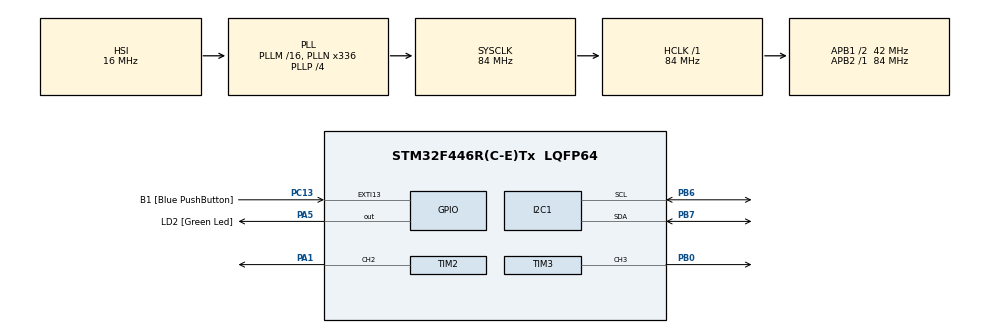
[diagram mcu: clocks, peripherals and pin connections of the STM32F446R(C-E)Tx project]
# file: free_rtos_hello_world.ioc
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FREERTOS.Tasks01=blink01,24,128,StartBlink01,Default,NULL,Dynamic,NULL,NULL;motorTest01,32,128,StartMotorTest01,Default,NULL,Dynamic,NULL,NULL;servoTest01,40,128,StartServoTest01,Default,NULL,Dynamic,NULL,NULL;oledDisplay01,24,512,StartOledDisplay01,Default,NULL,Dynamic,NULL,NULL;imuTask01,8,128,StartImuTask01,Default,NULL,Dynamic,NULL,NULL
FREERTOS.configUSE_NEWLIB_REENTRANT=1
Mcu.Family=STM32F4
Mcu.Name=STM32F446R(C-E)Tx
Mcu.Package=LQFP64
NVIC.PriorityGroup=NVIC_PRIORITYGROUP_4
NVIC.TIM6_DAC_IRQn=true\:15\:0\:false\:false\:true\:false\:false\:true\:true
NVIC.TimeBase=TIM6_DAC_IRQn
NVIC.TimeBaseIP=TIM6
PA1.Signal=S_TIM2_CH2
PA13.GPIO_Label=TMS
PA13.Signal=SYS_JTMS-SWDIO
PA14.GPIO_Label=TCK
PA14.Signal=SYS_JTCK-SWCLK
PA2.GPIO_Label=USART_TX
PA2.Signal=USART2_TX
PA3.GPIO_Label=USART_RX
PA3.Signal=USART2_RX
PA5.GPIO_Label=LD2 [Green Led]
PA5.Signal=GPIO_Output
PB0.Signal=S_TIM3_CH3
PB3.GPIO_Label=SWO
PB3.Signal=SYS_JTDO-SWO
PB6.Mode=I2C
PB6.Signal=I2C1_SCL
PB7.Mode=I2C
PB7.Signal=I2C1_SDA
PC13.GPIO_Label=B1 [Blue PushButton]
PC13.GPIO_ModeDefaultEXTI=GPIO_MODE_IT_FALLING
PC13.Signal=GPXTI13
PC14-OSC32_IN.Signal=RCC_OSC32_IN
PC15-OSC32_OUT.Signal=RCC_OSC32_OUT
PH0-OSC_IN.Signal=RCC_OSC_IN
PH1-OSC_OUT.Signal=RCC_OSC_OUT
ProjectManager.HeapSize=0x200
ProjectManager.StackSize=0x400
ProjectManager.TargetToolchain=STM32CubeIDE
RCC.AHBFreq_Value=84000000
RCC.APB1CLKDivider=RCC_HCLK_DIV2
RCC.APB1Freq_Value=42000000
RCC.APB1TimFreq_Value=84000000
RCC.APB2Freq_Value=84000000
RCC.APB2TimFreq_Value=84000000
RCC.CortexFreq_Value=84000000
RCC.FLatency-AdvancedSettings=FLASH_LATENCY_2
RCC.HCLKFreq_Value=84000000
RCC.HSE_VALUE=8000000
RCC.HSI_VALUE=16000000
RCC.LSE_VALUE=32768
RCC.PLLN=336
RCC.PLLP=RCC_PLLP_DIV4
RCC.SYSCLKFreq_VALUE=84000000
RCC.SYSCLKSource=RCC_SYSCLKSOURCE_PLLCLK
RCC.USBFreq_Value=168000000
RCC.VCOOutputFreq_Value=336000000
SH.S_TIM2_CH2.0=TIM2_CH2,PWM Generation2 CH2
SH.S_TIM3_CH3.0=TIM3_CH3,PWM Generation3 CH3
TIM2.Channel-PWM\ Generation2\ CH2=TIM_CHANNEL_2
TIM2.Period=999
TIM2.Prescaler=1679
TIM2.Pulse-PWM\ Generation2\ CH2=150
TIM3.Channel-PWM\ Generation3\ CH3=TIM_CHANNEL_3
TIM3.Period=19999
TIM3.Prescaler=83
TIM3.Pulse-PWM\ Generation3\ CH3=1500
VP_FREERTOS_VS_CMSIS_V2.Mode=CMSIS_V2
VP_SYS_VS_tim6.Mode=TIM6
VP_TIM3_VS_ClockSourceINT.Mode=Internal
board=NUCLEO-F446RE

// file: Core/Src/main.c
/* USER CODE BEGIN Header */
/**
  ******************************************************************************
  * @file           : main.c
  * @brief          : Main program body
  ******************************************************************************
  * @attention
  *
  * Copyright (c) 2025 STMicroelectronics.
  * All rights reserved.
  *
  * This software is licensed under terms that can be found in the LICENSE file
  * in the root directory of this software component.
  * If no LICENSE file comes with this software, it is provided AS-IS.
  *
  ******************************************************************************
  */
/* USER CODE END Header */
#include "main.h"
#include "cmsis_os.h"

/* USER CODE BEGIN Includes */
#include "ssd1306.h"

/* USER CODE END Includes */

I2C_HandleTypeDef hi2c1;

TIM_HandleTypeDef htim2;
TIM_HandleTypeDef htim3;

/* Definitions for blink01 */
osThreadId_t blink01Handle;
const osThreadAttr_t blink01_attributes = {
  .name = "blink01",
  .stack_size = 128 * 4,
  .priority = (osPriority_t) osPriorityNormal,
};
/* Definitions for motorTest01 */
osThreadId_t motorTest01Handle;
const osThreadAttr_t motorTest01_attributes = {
  .name = "motorTest01",
  .stack_size = 128 * 4,
  .priority = (osPriority_t) osPriorityAboveNormal,
};
/* Definitions for servoTest01 */
osThreadId_t servoTest01Handle;
const osThreadAttr_t servoTest01_attributes = {
  .name = "servoTest01",
  .stack_size = 128 * 4,
  .priority = (osPriority_t) osPriorityHigh,
};
/* Definitions for oledDisplay01 */
osThreadId_t oledDisplay01Handle;
const osThreadAttr_t oledDisplay01_attributes = {
  .name = "oledDisplay01",
  .stack_size = 512 * 4,
  .priority = (osPriority_t) osPriorityNormal,
};
/* Definitions for imuTask01 */
osThreadId_t imuTask01Handle;
const osThreadAttr_t imuTask01_attributes = {
  .name = "imuTask01",
  .stack_size = 128 * 4,
  .priority = (osPriority_t) osPriorityLow,
};
/* USER CODE BEGIN PV */
volatile float current_heading = 0.0f;
volatile bool imu_connected = false;
volatile uint8_t battery_percentage = 85;  // Placeholder
volatile float battery_voltage = 12.4f;    // Placeholder
volatile uint32_t system_uptime = 0;
/* USER CODE END PV */

void SystemClock_Config(void);
static void MX_GPIO_Init(void);
static void MX_TIM3_Init(void);
static void MX_TIM2_Init(void);
static void MX_I2C1_Init(void);
void StartBlink01(void *argument);
void StartMotorTest01(void *argument);
void StartServoTest01(void *argument);
void StartOledDisplay01(void *argument);
void StartImuTask01(void *argument);

int main(void)
{

  /* MCU Configuration--------------------------------------------------------*/

  /* Reset of all peripherals, Initializes the Flash interface and the Systick. */
  HAL_Init();

  /* Configure the system clock */
  SystemClock_Config();

  /* Initialize all configured peripherals */
  MX_GPIO_Init();
  MX_TIM3_Init();
  MX_TIM2_Init();
  MX_I2C1_Init();

  /* Init scheduler */
  osKernelInitialize();

  /* Create the thread(s) */
  /* creation of blink01 */
  blink01Handle = osThreadNew(StartBlink01, NULL, &blink01_attributes);

  /* creation of motorTest01 */
  motorTest01Handle = osThreadNew(StartMotorTest01, NULL, &motorTest01_attributes);

  /* creation of servoTest01 */
  servoTest01Handle = osThreadNew(StartServoTest01, NULL, &servoTest01_attributes);

  /* creation of oledDisplay01 */
  oledDisplay01Handle = osThreadNew(StartOledDisplay01, NULL, &oledDisplay01_attributes);

  /* creation of imuTask01 */
  imuTask01Handle = osThreadNew(StartImuTask01, NULL, &imuTask01_attributes);

  /* Start scheduler */
  osKernelStart();

  /* We should never get here as control is now taken by the scheduler */

  /* Infinite loop */
  while (1)
  {

  }
}

void SystemClock_Config(void)
{
  RCC_OscInitTypeDef RCC_OscInitStruct = {0};
  RCC_ClkInitTypeDef RCC_ClkInitStruct = {0};

  /** Configure the main internal regulator output voltage
  */
  __HAL_RCC_PWR_CLK_ENABLE();
  __HAL_PWR_VOLTAGESCALING_CONFIG(PWR_REGULATOR_VOLTAGE_SCALE3);

  /** Initializes the RCC Oscillators according to the specified parameters
  * in the RCC_OscInitTypeDef structure.
  */
  RCC_OscInitStruct.OscillatorType = RCC_OSCILLATORTYPE_HSI;
  RCC_OscInitStruct.HSIState = RCC_HSI_ON;
  RCC_OscInitStruct.HSICalibrationValue = RCC_HSICALIBRATION_DEFAULT;
  RCC_OscInitStruct.PLL.PLLState = RCC_PLL_ON;
  RCC_OscInitStruct.PLL.PLLSource = RCC_PLLSOURCE_HSI;
  RCC_OscInitStruct.PLL.PLLM = 16;
  RCC_OscInitStruct.PLL.PLLN = 336;
  RCC_OscInitStruct.PLL.PLLP = RCC_PLLP_DIV4;
  RCC_OscInitStruct.PLL.PLLQ = 2;
  RCC_OscInitStruct.PLL.PLLR = 2;
  if (HAL_RCC_OscConfig(&RCC_OscInitStruct) != HAL_OK)
  {
    Error_Handler();
  }

  /** Initializes the CPU, AHB and APB buses clocks
  */
  RCC_ClkInitStruct.ClockType = RCC_CLOCKTYPE_HCLK|RCC_CLOCKTYPE_SYSCLK
                              |RCC_CLOCKTYPE_PCLK1|RCC_CLOCKTYPE_PCLK2;
  RCC_ClkInitStruct.SYSCLKSource = RCC_SYSCLKSOURCE_PLLCLK;
  RCC_ClkInitStruct.AHBCLKDivider = RCC_SYSCLK_DIV1;
  RCC_ClkInitStruct.APB1CLKDivider = RCC_HCLK_DIV2;
  RCC_ClkInitStruct.APB2CLKDivider = RCC_HCLK_DIV1;

  if (HAL_RCC_ClockConfig(&RCC_ClkInitStruct, FLASH_LATENCY_2) != HAL_OK)
  {
    Error_Handler();
  }
}

static void MX_I2C1_Init(void)
{

  hi2c1.Instance = I2C1;
  hi2c1.Init.ClockSpeed = 100000;
  hi2c1.Init.DutyCycle = I2C_DUTYCYCLE_2;
  hi2c1.Init.OwnAddress1 = 0;
  hi2c1.Init.AddressingMode = I2C_ADDRESSINGMODE_7BIT;
  hi2c1.Init.DualAddressMode = I2C_DUALADDRESS_DISABLE;
  hi2c1.Init.OwnAddress2 = 0;
  hi2c1.Init.GeneralCallMode = I2C_GENERALCALL_DISABLE;
  hi2c1.Init.NoStretchMode = I2C_NOSTRETCH_DISABLE;
  if (HAL_I2C_Init(&hi2c1) != HAL_OK)
  {
    Error_Handler();
  }

}

static void MX_TIM2_Init(void)
{

  TIM_MasterConfigTypeDef sMasterConfig = {0};
  TIM_OC_InitTypeDef sConfigOC = {0};

  htim2.Instance = TIM2;
  htim2.Init.Prescaler = 1679;
  htim2.Init.CounterMode = TIM_COUNTERMODE_UP;
  htim2.Init.Period = 999;
  htim2.Init.ClockDivision = TIM_CLOCKDIVISION_DIV1;
  htim2.Init.AutoReloadPreload = TIM_AUTORELOAD_PRELOAD_DISABLE;
  if (HAL_TIM_PWM_Init(&htim2) != HAL_OK)
  {
    Error_Handler();
  }
  sMasterConfig.MasterOutputTrigger = TIM_TRGO_RESET;
  sMasterConfig.MasterSlaveMode = TIM_MASTERSLAVEMODE_DISABLE;
  if (HAL_TIMEx_MasterConfigSynchronization(&htim2, &sMasterConfig) != HAL_OK)
  {
    Error_Handler();
  }
  sConfigOC.OCMode = TIM_OCMODE_PWM1;
  sConfigOC.Pulse = 150;
  sConfigOC.OCPolarity = TIM_OCPOLARITY_HIGH;
  sConfigOC.OCFastMode = TIM_OCFAST_DISABLE;
  if (HAL_TIM_PWM_ConfigChannel(&htim2, &sConfigOC, TIM_CHANNEL_2) != HAL_OK)
  {
    Error_Handler();
  }
  HAL_TIM_MspPostInit(&htim2);

}

static void MX_TIM3_Init(void)
{

  TIM_ClockConfigTypeDef sClockSourceConfig = {0};
  TIM_MasterConfigTypeDef sMasterConfig = {0};
  TIM_OC_InitTypeDef sConfigOC = {0};

  htim3.Instance = TIM3;
  htim3.Init.Prescaler = 83;
  htim3.Init.CounterMode = TIM_COUNTERMODE_UP;
  htim3.Init.Period = 19999;
  htim3.Init.ClockDivision = TIM_CLOCKDIVISION_DIV1;
  htim3.Init.AutoReloadPreload = TIM_AUTORELOAD_PRELOAD_DISABLE;
  if (HAL_TIM_Base_Init(&htim3) != HAL_OK)
  {
    Error_Handler();
  }
  sClockSourceConfig.ClockSource = TIM_CLOCKSOURCE_INTERNAL;
  if (HAL_TIM_ConfigClockSource(&htim3, &sClockSourceConfig) != HAL_OK)
  {
    Error_Handler();
  }
  if (HAL_TIM_PWM_Init(&htim3) != HAL_OK)
  {
    Error_Handler();
  }
  sMasterConfig.MasterOutputTrigger = TIM_TRGO_RESET;
  sMasterConfig.MasterSlaveMode = TIM_MASTERSLAVEMODE_DISABLE;
  if (HAL_TIMEx_MasterConfigSynchronization(&htim3, &sMasterConfig) != HAL_OK)
  {
    Error_Handler();
  }
  sConfigOC.OCMode = TIM_OCMODE_PWM1;
  sConfigOC.Pulse = 1500;
  sConfigOC.OCPolarity = TIM_OCPOLARITY_HIGH;
  sConfigOC.OCFastMode = TIM_OCFAST_DISABLE;
  if (HAL_TIM_PWM_ConfigChannel(&htim3, &sConfigOC, TIM_CHANNEL_3) != HAL_OK)
  {
    Error_Handler();
  }
  HAL_TIM_MspPostInit(&htim3);

}

static void MX_GPIO_Init(void)
{
  GPIO_InitTypeDef GPIO_InitStruct = {0};

  /* GPIO Ports Clock Enable */
  __HAL_RCC_GPIOC_CLK_ENABLE();
  __HAL_RCC_GPIOH_CLK_ENABLE();
  __HAL_RCC_GPIOA_CLK_ENABLE();
  __HAL_RCC_GPIOB_CLK_ENABLE();

  /*Configure GPIO pin Output Level */
  HAL_GPIO_WritePin(LD2_GPIO_Port, LD2_Pin, GPIO_PIN_RESET);

  /*Configure GPIO pin : B1_Pin */
  GPIO_InitStruct.Pin = B1_Pin;
  GPIO_InitStruct.Mode = GPIO_MODE_IT_FALLING;
  GPIO_InitStruct.Pull = GPIO_NOPULL;
  HAL_GPIO_Init(B1_GPIO_Port, &GPIO_InitStruct);

  /*Configure GPIO pins : USART_TX_Pin USART_RX_Pin */
  GPIO_InitStruct.Pin = USART_TX_Pin|USART_RX_Pin;
  GPIO_InitStruct.Mode = GPIO_MODE_AF_PP;
  GPIO_InitStruct.Pull = GPIO_NOPULL;
  GPIO_InitStruct.Speed = GPIO_SPEED_FREQ_VERY_HIGH;
  GPIO_InitStruct.Alternate = GPIO_AF7_USART2;
  HAL_GPIO_Init(GPIOA, &GPIO_InitStruct);

  /*Configure GPIO pin : LD2_Pin */
  GPIO_InitStruct.Pin = LD2_Pin;
  GPIO_InitStruct.Mode = GPIO_MODE_OUTPUT_PP;
  GPIO_InitStruct.Pull = GPIO_NOPULL;
  GPIO_InitStruct.Speed = GPIO_SPEED_FREQ_LOW;
  HAL_GPIO_Init(LD2_GPIO_Port, &GPIO_InitStruct);

}

void StartBlink01(void *argument)
{
  /* USER CODE BEGIN 5 */
  /* Infinite loop */
  for(;;)
  {
	HAL_GPIO_TogglePin(GPIOA, GPIO_PIN_5);
    osDelay(500);
  }

  osThreadTerminate(NULL);
  /* USER CODE END 5 */
}

void StartMotorTest01(void *argument)
{
  /* USER CODE BEGIN StartMotorTest01 */
  HAL_TIM_PWM_Start(&htim3, TIM_CHANNEL_3);

  // Thruster-specific arming - hold minimum throttle longer
  __HAL_TIM_SET_COMPARE(&htim3, TIM_CHANNEL_3, 1500); // Neutral position
  osDelay(3000);

  __HAL_TIM_SET_COMPARE(&htim3, TIM_CHANNEL_3, 1000); // Minimum
  osDelay(5000); // Hold minimum longer for thruster ESCs

  for(;;)
  {
    __HAL_TIM_SET_COMPARE(&htim3, TIM_CHANNEL_3, 1100); // Very slow forward
    osDelay(3000);

    __HAL_TIM_SET_COMPARE(&htim3, TIM_CHANNEL_3, 1500); // Stop (neutral)
    osDelay(10000);
  }
  /* USER CODE END StartMotorTest01 */
}

void StartServoTest01(void *argument)
{
  /* USER CODE BEGIN StartServoTest01 */
	/*
	REMEMBER: still needs to share GND with STM32 to get clean signals.
	Hint:This means two wires connecting to the OUT- of the buck converter.
	*/

    // Start the PWM for servo
    HAL_TIM_PWM_Start(&htim2, TIM_CHANNEL_2);

    // Position values
    uint32_t center = 75;
    uint32_t right = 125;
    uint32_t left = 25;

    // Start at center
    __HAL_TIM_SET_COMPARE(&htim2, TIM_CHANNEL_2, center);
    osDelay(2000); // Initial center hold

    /* Infinite loop: Center → Right → Center → Left */
    for(;;)
    {
        // Go to center
        __HAL_TIM_SET_COMPARE(&htim2, TIM_CHANNEL_2, center);
        osDelay(3000);

        // Go to right
        __HAL_TIM_SET_COMPARE(&htim2, TIM_CHANNEL_2, right);
        osDelay(3000);

        // Return to center
        __HAL_TIM_SET_COMPARE(&htim2, TIM_CHANNEL_2, center);
        osDelay(3000);

        // Go to left
        __HAL_TIM_SET_COMPARE(&htim2, TIM_CHANNEL_2, left);
        osDelay(3000);
    }
  /* USER CODE END StartServoTest01 */
}

void StartOledDisplay01(void *argument)
{
  /* USER CODE BEGIN StartOledDisplay01 */

  // Wait for system to stabilize
  osDelay(1000);

  // Initialize the OLED display
  SSD1306_Init();

  /* Infinite loop */
  for(;;)
  {
    // Clear the display
    SSD1306_Clear();

    // Line 1: System uptime
    SSD1306_Printf(5, 5, "Uptime: %lu s", system_uptime);

    // Line 2: IMU status and heading
    if(imu_connected) {
      SSD1306_Printf(5, 15, "IMU: OK HDG:%.1f", current_heading);
    } else {
      SSD1306_Printf(5, 15, "IMU: Disconnected");
    }

    // Line 3: Battery status (placeholder)
    SSD1306_Printf(5, 25, "BAT: %d%% %.1fV", battery_percentage, battery_voltage);

    // Update the display
    SSD1306_UpdateScreen();

    // Increment uptime and wait 1 second
    system_uptime++;
    osDelay(1000);
  }
  /* USER CODE END StartOledDisplay01 */
}
void StartImuTask01(void *argument)
{
  /* USER CODE BEGIN StartImuTask01 */

  // Wait for system stabilization
  osDelay(1000);

  uint8_t chip_id = 0;

  /* Infinite loop */
  for(;;)
  {
    // Try to read BNO055 chip ID (should be 0xA0)
    if(HAL_I2C_Mem_Read(&hi2c1, 0x28 << 1, 0x00, 1, &chip_id, 1, 1000) == HAL_OK) {
      if(chip_id == 0xA0) {
        imu_connected = true;
        // For now, just set a test heading value
        // Later we'll read actual sensor data
        current_heading = 123.4f;  // Test value
      } else {
        imu_connected = false;
      }
    } else {
      imu_connected = false;
    }

    // Check IMU every 500ms
    osDelay(500);
  }
  /* USER CODE END StartImuTask01 */
}

void HAL_TIM_PeriodElapsedCallback(TIM_HandleTypeDef *htim)
{
  if (htim->Instance == TIM6)
  {
    HAL_IncTick();
  }
}

void Error_Handler(void)
{
  __disable_irq();
  while (1)
  {
  }
}
